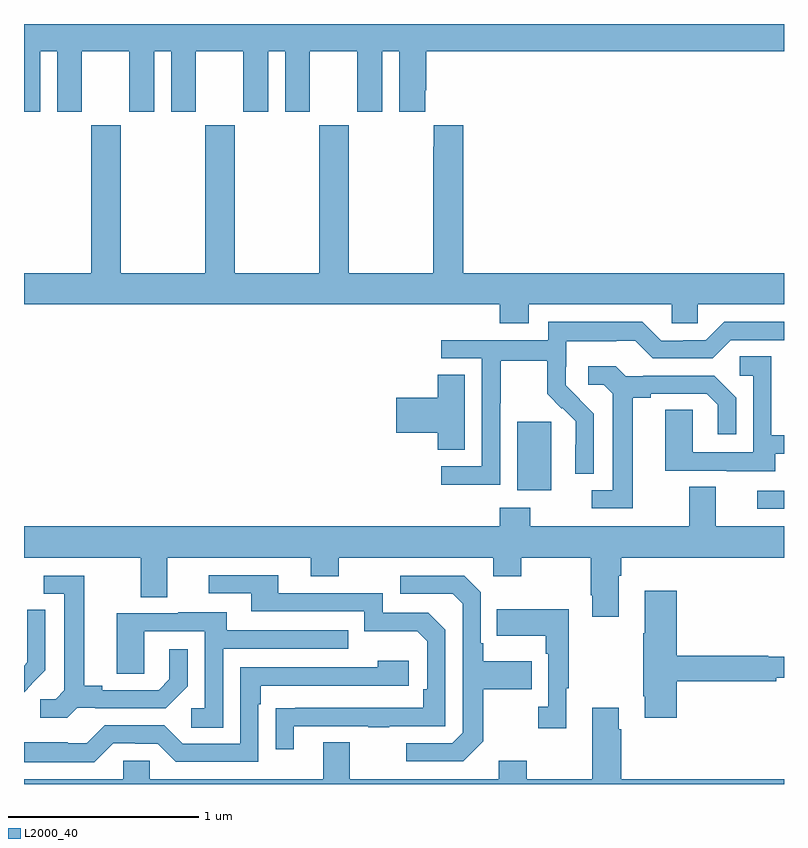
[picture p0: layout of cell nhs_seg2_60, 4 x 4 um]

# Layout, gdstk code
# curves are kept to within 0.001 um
import gdstk
lib = gdstk.Library(unit=1e-6, precision=1e-09)
def R(c, l, rs):  # rectangles x0, y0, x1, y1
    for r in rs: c.add(gdstk.rectangle(r[:2], r[2:], *l))
def P(c, l, *ps):  # polygons
    for p in ps: c.add(gdstk.Polygon(p, *l))
L2000_40 = (2000, 40)

nhs_seg2_60 = lib.new_cell('nhs_seg2_60')
R(nhs_seg2_60, L2000_40, [(116.859,625.248,117,625.344), (115.595,625.346,115.774,625.707)])
P(nhs_seg2_60, L2000_40, [(113.086,627.656),(113.174,627.656),(113.174,627.339),(113.305,627.339),(113.305,627.656),(113.555,627.656),(113.555,627.339),(113.686,627.339),(113.686,627.656),(113.774,627.656),(113.774,627.339),(113.905,627.339),(113.905,627.656),(114.155,627.656),(114.155,627.339),(114.286,627.339),(114.286,627.656),(114.374,627.656),(114.374,627.339),(114.505,627.339),(114.505,627.656),(114.755,627.656),(114.755,627.339),(114.886,627.339),(114.886,627.656),(114.974,627.656),(114.974,627.339),(115.111,627.339),(115.111,627.451),(115.118,627.451),(115.118,627.656),(117,627.656),(117,627.8),(113,627.8),(113,627.339),(113.086,627.339)],
  [(115.657,626.324),(116.409,626.324),(116.409,626.226),(116.547,626.226),(116.547,626.324),(117,626.324),(117,626.488),(115.313,626.488),(115.313,627.268),(115.157,627.268),(115.157,627.155),(115.153,627.155),(115.153,626.488),(114.708,626.488),(114.708,627.268),(114.553,627.268),(114.553,626.488),(114.108,626.488),(114.108,627.268),(113.953,627.268),(113.953,626.488),(113.508,626.488),(113.508,627.268),(113.353,627.268),(113.353,626.488),(113,626.488),(113,626.324),(115.505,626.324),(115.505,626.225),(115.657,626.225)],
  [(115.506,625.804),(115.509,625.804),(115.509,626.028),(115.753,626.028),(115.753,625.853),(115.83,625.776),(115.833,625.779),(115.904,625.709),(115.904,625.586),(115.902,625.586),(115.902,625.432),(115.998,625.432),(115.998,625.75),(115.852,625.898),(115.852,625.995),(115.854,625.995),(115.854,626.129),(116.117,626.129),(116.117,626.133),(116.217,626.133),(116.31,626.04),(116.625,626.04),(116.721,626.136),(117,626.136),(117,626.232),(116.685,626.232),(116.589,626.136),(116.471,626.136),(116.471,626.133),(116.355,626.133),(116.255,626.233),(115.758,626.233),(115.758,626.136),(115.197,626.136),(115.197,626.04),(115.41,626.04),(115.41,625.473),(115.197,625.473),(115.197,625.375),(115.506,625.375)],
  [(116.953,625.539),(117,625.539),(117,625.635),(116.934,625.635),(116.934,626.051),(116.766,626.051),(116.766,625.95),(116.838,625.95),(116.838,625.545),(116.52,625.545),(116.52,625.769),(116.375,625.769),(116.375,625.449),(116.699,625.449),(116.699,625.445),(116.953,625.445)],
  [(116.203,625.832),(116.299,625.832),(116.299,625.854),(116.594,625.854),(116.651,625.797),(116.651,625.641),(116.748,625.641),(116.748,625.834),(116.632,625.95),(116.26,625.95),(116.26,625.947),(116.166,625.947),(116.114,625.999),(115.971,625.999),(115.971,625.902),(116.052,625.902),(116.099,625.855),(116.099,625.347),(115.989,625.347),(115.989,625.251),(116.203,625.251)],
  [(115.321,625.955),(115.178,625.955),(115.178,625.832),(114.96,625.832),(114.96,625.649),(115.178,625.649),(115.178,625.558),(115.321,625.558)],
  [(116.131,624.896),(116.144,624.896),(116.144,624.992),(117,624.992),(117,625.156),(116.641,625.156),(116.641,625.364),(116.501,625.364),(116.501,625.156),(115.665,625.156),(115.665,625.255),(115.505,625.255),(115.505,625.156),(113,625.156),(113,624.992),(113.615,624.992),(113.615,624.784),(113.755,624.784),(113.755,624.992),(114.509,624.992),(114.509,624.893),(114.657,624.893),(114.657,624.992),(115.47,624.992),(115.47,624.893),(115.617,624.893),(115.617,624.992),(115.984,624.992),(115.984,624.793),(115.991,624.793),(115.991,624.681),(116.131,624.681)],
  [(114.421,624.105),(114.811,624.105),(114.811,624.1),(114.923,624.1),(114.923,624.105),(115.218,624.105),(115.218,624.612),(115.128,624.702),(114.888,624.702),(114.888,624.804),(114.337,624.804),(114.337,624.9),(113.973,624.9),(113.973,624.804),(114.197,624.804),(114.197,624.708),(114.792,624.708),(114.792,624.605),(115.069,624.605),(115.122,624.552),(115.122,624.298),(115.102,624.298),(115.102,624.201),(114.325,624.2),(114.325,623.982),(114.421,623.982)],
  [(115.417,624.025),(115.417,624.298),(115.673,624.298),(115.673,624.445),(115.417,624.445),(115.417,624.541),(115.404,624.541),(115.404,624.81),(115.317,624.897),(114.981,624.897),(114.981,624.801),(115.257,624.801),(115.308,624.75),(115.308,624.069),(115.254,624.015),(115.011,624.015),(115.011,623.919),(115.311,623.919)],
  [(113.28,624.201),(113.374,624.201),(113.374,624.198),(113.746,624.198),(113.862,624.314),(113.862,624.508),(113.765,624.508),(113.765,624.351),(113.708,624.294),(113.413,624.294),(113.413,624.317),(113.317,624.317),(113.317,624.897),(113.103,624.897),(113.103,624.801),(113.213,624.801),(113.213,624.293),(113.166,624.246),(113.085,624.246),(113.085,624.149),(113.228,624.149)],
  [(116.435,624.34),(116.96,624.34),(116.96,624.359),(117,624.359),(117,624.469),(116.918,624.469),(116.918,624.476),(116.435,624.476),(116.435,624.817),(116.267,624.817),(116.267,624.593),(116.26,624.593),(116.26,624.262),(116.267,624.262),(116.267,624.15),(116.435,624.15)],
  [(115.855,624.305),(115.867,624.305),(115.867,624.721),(115.489,624.721),(115.489,624.581),(115.746,624.581),(115.746,624.485),(115.758,624.485),(115.758,624.206),(115.707,624.206),(115.707,624.093),(115.855,624.093)],
  [(113.04,624.324),(113.039,624.325),(113.112,624.398),(113.112,624.716),(113.016,624.716),(113.016,624.562),(113.018,624.562),(113.018,624.44),(113,624.422),(113,624.284)],
  [(114.048,624.513),(114.707,624.513),(114.707,624.609),(114.067,624.609),(114.067,624.703),(113.813,624.703),(113.813,624.699),(113.489,624.699),(113.489,624.379),(113.634,624.379),(113.634,624.603),(113.952,624.603),(113.952,624.198),(113.88,624.198),(113.88,624.097),(114.048,624.097)],
  [(113.469,624.015),(113.585,624.015),(113.585,624.012),(113.703,624.012),(113.799,623.916),(114.234,623.916),(114.234,624.221),(114.247,624.221),(114.247,624.318),(115.024,624.318),(115.024,624.448),(114.863,624.448),(114.863,624.414),(114.138,624.414),(114.138,624.012),(113.835,624.012),(113.739,624.108),(113.424,624.108),(113.331,624.015),(113.231,624.015),(113.231,624.019),(113,624.019),(113,623.915),(113.369,623.915)],
  [(117,623.824),(116.144,623.824),(116.144,624.089),(116.131,624.089),(116.131,624.202),(115.991,624.202),(115.991,623.824),(115.647,623.824),(115.647,623.923),(115.499,623.923),(115.499,623.824),(114.715,623.824),(114.715,624.019),(114.575,624.019),(114.575,623.824),(113.661,623.824),(113.661,623.922),(113.523,623.922),(113.523,623.824),(113,623.824),(113,623.8),(117,623.8)])

lib.write_gds('nhs_seg2_60.gds')
